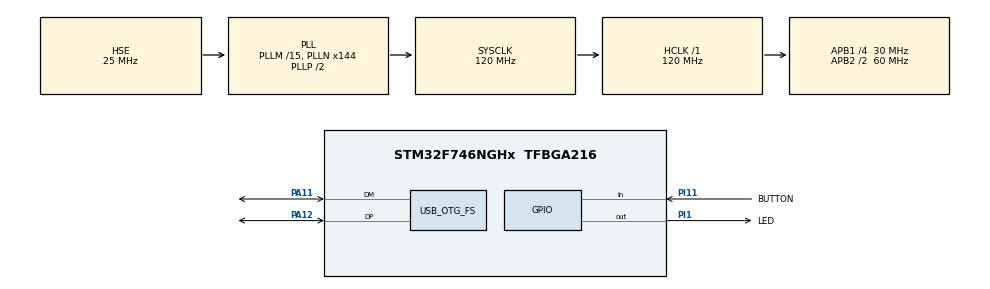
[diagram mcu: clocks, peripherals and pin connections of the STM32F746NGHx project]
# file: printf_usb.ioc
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FREERTOS.Mutexes01=usbCdcMutex,Dynamic,NULL
FREERTOS.Tasks01=defaultTask,24,512,StartDefaultTask,Default,NULL,Dynamic,NULL,NULL;buttonTask,24,512,ButtonTask,Default,NULL,Dynamic,NULL,NULL
FREERTOS.Timers01=ledTimer,LedCallback,osTimerPeriodic,Default,NULL,Dynamic,NULL
FREERTOS.configTIMER_TASK_PRIORITY=24
Mcu.Family=STM32F7
Mcu.Name=STM32F746NGHx
Mcu.Package=TFBGA216
NVIC.OTG_FS_IRQn=true\:5\:0\:false\:false\:true\:true\:true\:true
NVIC.PriorityGroup=NVIC_PRIORITYGROUP_4
NVIC.TIM1_UP_TIM10_IRQn=true\:0\:0\:false\:false\:true\:false\:false\:true
NVIC.TimeBase=TIM1_UP_TIM10_IRQn
NVIC.TimeBaseIP=TIM1
PA11.Mode=Device_Only
PA11.Signal=USB_OTG_FS_DM
PA12.Mode=Device_Only
PA12.Signal=USB_OTG_FS_DP
PH0/OSC_IN.Mode=HSE-External-Oscillator
PH0/OSC_IN.Signal=RCC_OSC_IN
PH1/OSC_OUT.Mode=HSE-External-Oscillator
PH1/OSC_OUT.Signal=RCC_OSC_OUT
PI1.GPIO_Label=LED
PI1.Signal=GPIO_Output
PI11.GPIO_Label=BUTTON
PI11.Signal=GPIO_Input
ProjectManager.HeapSize=0x200
ProjectManager.StackSize=0x400
ProjectManager.TargetToolchain=STM32CubeIDE
RCC.AHBFreq_Value=120000000
RCC.APB1CLKDivider=RCC_HCLK_DIV4
RCC.APB1Freq_Value=30000000
RCC.APB1TimFreq_Value=60000000
RCC.APB2CLKDivider=RCC_HCLK_DIV2
RCC.APB2Freq_Value=60000000
RCC.APB2TimFreq_Value=120000000
RCC.CortexFreq_Value=120000000
RCC.HCLKFreq_Value=120000000
RCC.HSE_VALUE=25000000
RCC.HSI_VALUE=16000000
RCC.LSE_VALUE=32768
RCC.PLLM=15
RCC.PLLN=144
RCC.PLLQ=5
RCC.SYSCLKFreq_VALUE=120000000
RCC.SYSCLKSource=RCC_SYSCLKSOURCE_PLLCLK
RCC.USBFreq_Value=48000000
RCC.VCOOutputFreq_Value=240000000
USB_DEVICE.CLASS_NAME_FS=CDC
USB_DEVICE.VirtualMode-CDC_FS=Cdc
USB_DEVICE.VirtualModeFS=Cdc_FS
USB_OTG_FS.VirtualMode=Device_Only
VP_FREERTOS_VS_CMSIS_V2.Mode=CMSIS_V2
VP_SYS_VS_tim1.Mode=TIM1
VP_USB_DEVICE_VS_USB_DEVICE_CDC_FS.Mode=CDC_FS
board=STM32F746G-DISCO

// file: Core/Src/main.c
/* USER CODE BEGIN Header */
/**
  ******************************************************************************
  * @file           : main.c
  * @brief          : Main program body
  ******************************************************************************
  * @attention
  *
  * <h2><center>&copy; Copyright (c) 2020 STMicroelectronics.
  * All rights reserved.</center></h2>
  *
  * This software component is licensed by ST under BSD 3-Clause license,
  * the "License"; You may not use this file except in compliance with the
  * License. You may obtain a copy of the License at:
  *                        opensource.org/licenses/BSD-3-Clause
  *
  ******************************************************************************
  */
/* USER CODE END Header */

#include "main.h"
#include "cmsis_os.h"
#include "usb_device.h"

/* USER CODE BEGIN Includes */
#include "usbd_cdc_if.h"
#include "stdarg.h"
/* USER CODE END Includes */

/* Definitions for defaultTask */
osThreadId_t defaultTaskHandle;
const osThreadAttr_t defaultTask_attributes = {
  .name = "defaultTask",
  .priority = (osPriority_t) osPriorityNormal,
  .stack_size = 512 * 4
};
/* Definitions for buttonTask */
osThreadId_t buttonTaskHandle;
const osThreadAttr_t buttonTask_attributes = {
  .name = "buttonTask",
  .priority = (osPriority_t) osPriorityNormal,
  .stack_size = 512 * 4
};
/* Definitions for ledTimer */
osTimerId_t ledTimerHandle;
const osTimerAttr_t ledTimer_attributes = {
  .name = "ledTimer"
};
/* Definitions for usbCdcMutex */
osMutexId_t usbCdcMutexHandle;
const osMutexAttr_t usbCdcMutex_attributes = {
  .name = "usbCdcMutex"
};

void SystemClock_Config(void);
static void MX_GPIO_Init(void);
void StartDefaultTask(void *argument);
void ButtonTask(void *argument);
void LedCallback(void *argument);

/* USER CODE BEGIN 0 */
void debug(const char* format, ...) {
  if (osMutexAcquire(usbCdcMutexHandle, osWaitForever) == osOK) {
    va_list args;
    va_start(args, format);
    vprintf(format, args);
    va_end(args);
    osMutexRelease(usbCdcMutexHandle);
  }
}

const int MAX_USBD_BUSY_LOOPS = 500;
int busyLoopCounter = 0;

int _write(int file, char *ptr, int len) {
  busyLoopCounter = 0;
  while (CDC_Transmit_FS((uint8_t*)ptr, len) == USBD_BUSY) {
    busyLoopCounter++;
    if (busyLoopCounter >= MAX_USBD_BUSY_LOOPS) {
      return 0;
    } else if (busyLoopCounter % 20 == 0) {
      osThreadYield();
    }
  }
  return len;
}
/* USER CODE END 0 */

int main(void)
{

  /* MCU Configuration--------------------------------------------------------*/

  /* Reset of all peripherals, Initializes the Flash interface and the Systick. */
  HAL_Init();

  /* Configure the system clock */
  SystemClock_Config();

  /* Initialize all configured peripherals */
  MX_GPIO_Init();

  /* Init scheduler */
  osKernelInitialize();
  /* Create the mutex(es) */
  /* creation of usbCdcMutex */
  usbCdcMutexHandle = osMutexNew(&usbCdcMutex_attributes);

  /* Create the timer(s) */
  /* creation of ledTimer */
  ledTimerHandle = osTimerNew(LedCallback, osTimerPeriodic, NULL, &ledTimer_attributes);

  /* Create the thread(s) */
  /* creation of defaultTask */
  defaultTaskHandle = osThreadNew(StartDefaultTask, NULL, &defaultTask_attributes);

  /* creation of buttonTask */
  buttonTaskHandle = osThreadNew(ButtonTask, NULL, &buttonTask_attributes);

  /* Start scheduler */
  osKernelStart();

  /* We should never get here as control is now taken by the scheduler */
  /* Infinite loop */
  while (1)
  {

  }
}

void SystemClock_Config(void)
{
  RCC_OscInitTypeDef RCC_OscInitStruct = {0};
  RCC_ClkInitTypeDef RCC_ClkInitStruct = {0};
  RCC_PeriphCLKInitTypeDef PeriphClkInitStruct = {0};

  /** Configure the main internal regulator output voltage
  */
  __HAL_RCC_PWR_CLK_ENABLE();
  __HAL_PWR_VOLTAGESCALING_CONFIG(PWR_REGULATOR_VOLTAGE_SCALE3);
  /** Initializes the CPU, AHB and APB busses clocks
  */
  RCC_OscInitStruct.OscillatorType = RCC_OSCILLATORTYPE_HSE;
  RCC_OscInitStruct.HSEState = RCC_HSE_ON;
  RCC_OscInitStruct.PLL.PLLState = RCC_PLL_ON;
  RCC_OscInitStruct.PLL.PLLSource = RCC_PLLSOURCE_HSE;
  RCC_OscInitStruct.PLL.PLLM = 15;
  RCC_OscInitStruct.PLL.PLLN = 144;
  RCC_OscInitStruct.PLL.PLLP = RCC_PLLP_DIV2;
  RCC_OscInitStruct.PLL.PLLQ = 5;
  if (HAL_RCC_OscConfig(&RCC_OscInitStruct) != HAL_OK)
  {
    Error_Handler();
  }
  /** Initializes the CPU, AHB and APB busses clocks
  */
  RCC_ClkInitStruct.ClockType = RCC_CLOCKTYPE_HCLK|RCC_CLOCKTYPE_SYSCLK
                              |RCC_CLOCKTYPE_PCLK1|RCC_CLOCKTYPE_PCLK2;
  RCC_ClkInitStruct.SYSCLKSource = RCC_SYSCLKSOURCE_PLLCLK;
  RCC_ClkInitStruct.AHBCLKDivider = RCC_SYSCLK_DIV1;
  RCC_ClkInitStruct.APB1CLKDivider = RCC_HCLK_DIV4;
  RCC_ClkInitStruct.APB2CLKDivider = RCC_HCLK_DIV2;

  if (HAL_RCC_ClockConfig(&RCC_ClkInitStruct, FLASH_LATENCY_3) != HAL_OK)
  {
    Error_Handler();
  }
  PeriphClkInitStruct.PeriphClockSelection = RCC_PERIPHCLK_CLK48;
  PeriphClkInitStruct.Clk48ClockSelection = RCC_CLK48SOURCE_PLL;
  if (HAL_RCCEx_PeriphCLKConfig(&PeriphClkInitStruct) != HAL_OK)
  {
    Error_Handler();
  }
}

static void MX_GPIO_Init(void)
{
  GPIO_InitTypeDef GPIO_InitStruct = {0};

  /* GPIO Ports Clock Enable */
  __HAL_RCC_GPIOA_CLK_ENABLE();
  __HAL_RCC_GPIOI_CLK_ENABLE();
  __HAL_RCC_GPIOH_CLK_ENABLE();

  /*Configure GPIO pin Output Level */
  HAL_GPIO_WritePin(LED_GPIO_Port, LED_Pin, GPIO_PIN_RESET);

  /*Configure GPIO pin : LED_Pin */
  GPIO_InitStruct.Pin = LED_Pin;
  GPIO_InitStruct.Mode = GPIO_MODE_OUTPUT_PP;
  GPIO_InitStruct.Pull = GPIO_NOPULL;
  GPIO_InitStruct.Speed = GPIO_SPEED_FREQ_LOW;
  HAL_GPIO_Init(LED_GPIO_Port, &GPIO_InitStruct);

  /*Configure GPIO pin : BUTTON_Pin */
  GPIO_InitStruct.Pin = BUTTON_Pin;
  GPIO_InitStruct.Mode = GPIO_MODE_INPUT;
  GPIO_InitStruct.Pull = GPIO_NOPULL;
  HAL_GPIO_Init(BUTTON_GPIO_Port, &GPIO_InitStruct);

}

void StartDefaultTask(void *argument)
{
  /* init code for USB_DEVICE */
  MX_USB_DEVICE_Init();
  /* USER CODE BEGIN 5 */
  osTimerStart(ledTimerHandle, 1000);

  /* Infinite loop */
  for(;;)
  {
    debug("Hola %s!\r\n", "neto");
    osDelay(1000);
  }
  /* USER CODE END 5 */
}

void ButtonTask(void *argument)
{
  /* USER CODE BEGIN ButtonTask */
  uint8_t alreadyPressed = 0;

  /* Infinite loop */
  for(;;)
  {
    if (HAL_GPIO_ReadPin(BUTTON_GPIO_Port, BUTTON_Pin) == GPIO_PIN_SET) {
      if (!alreadyPressed) {
        alreadyPressed = 1;
        HAL_GPIO_TogglePin(LED_GPIO_Port, LED_Pin);
        debug("Apacho el boton!\r\n");
      }
    } else {
      alreadyPressed = 0;
    }
    osThreadYield();
  }
  /* USER CODE END ButtonTask */
}

/* LedCallback function */
void LedCallback(void *argument)
{
  /* USER CODE BEGIN LedCallback */
  HAL_GPIO_TogglePin(LED_GPIO_Port, LED_Pin);
  debug("Se activo el timer del LED!\r\n");
  /* USER CODE END LedCallback */
}

 /**
  * @brief  Period elapsed callback in non blocking mode
  * @note   This function is called  when TIM1 interrupt took place, inside
  * HAL_TIM_IRQHandler(). It makes a direct call to HAL_IncTick() to increment
  * a global variable "uwTick" used as application time base.
  * @param  htim : TIM handle
  * @retval None
  */
void HAL_TIM_PeriodElapsedCallback(TIM_HandleTypeDef *htim)
{
  if (htim->Instance == TIM1) {
    HAL_IncTick();
  }
}

void Error_Handler(void)
{
}

/************************ (C) COPYRIGHT STMicroelectronics *****END OF FILE****/
